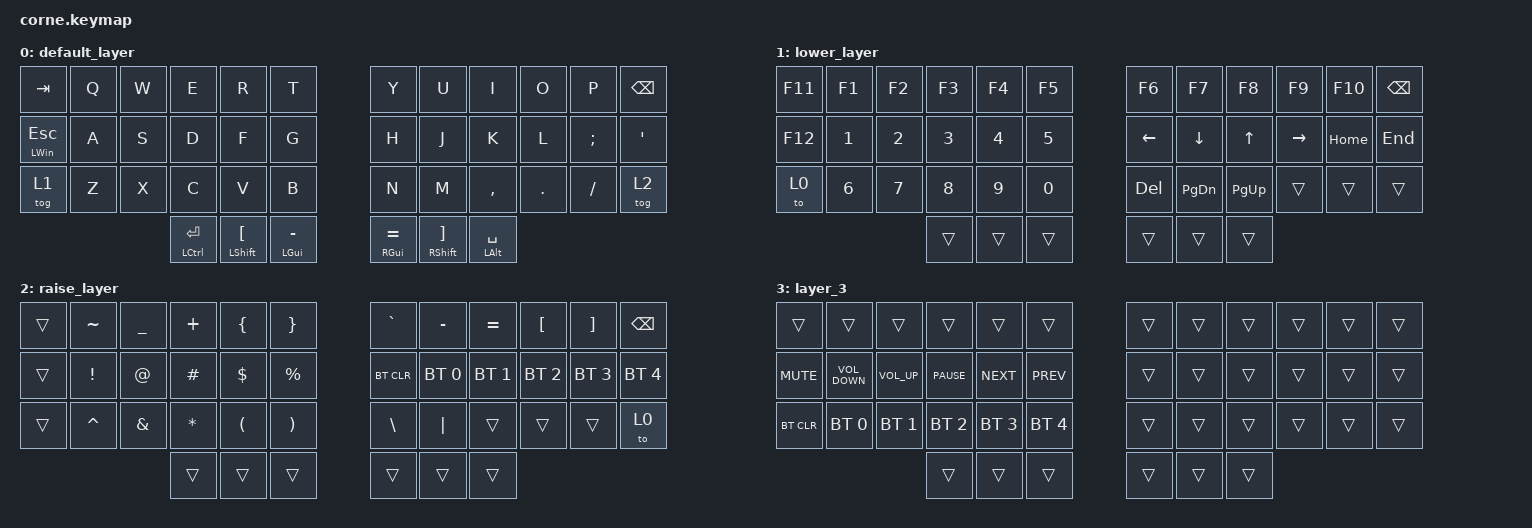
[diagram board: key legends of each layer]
/*
 * Copyright (c) 2020 The ZMK Contributors
 *
 * SPDX-License-Identifier: MIT
 */

#include <behaviors.dtsi>
#include <dt-bindings/zmk/bt.h>
#include <dt-bindings/zmk/keys.h>

/ {
    keymap {
        compatible = "zmk,keymap";

        default_layer {
            // -----------------------------------------------------------------------------------------
            // |  TAB |  Q  |  W  |  E  |  R  |  T  |   |  Y  |  U   |  I  |  O  |  P  | BKSP |
            // | CTRL |  A  |  S  |  D  |  F  |  G  |   |  H  |  J   |  K  |  L  |  ;  |  '   |
            // | SHFT |  Z  |  X  |  C  |  V  |  B  |   |  N  |  M   |  ,  |  .  |  /  | ESC  |
            //                    | GUI | LWR | SPC |   | ENT | RSE  | ALT |

            bindings = <
         &kp TAB  &kp Q  &kp W            &kp E                        &kp R               &kp T                  &kp Y                          &kp U               &kp I    &kp O     &kp P  &kp BSPC
&mt LEFT_WIN ESC  &kp A  &kp S            &kp D                        &kp F               &kp G                  &kp H                          &kp J               &kp K    &kp L  &kp SEMI   &kp SQT
          &tog 1  &kp Z  &kp X            &kp C                        &kp V               &kp B                  &kp N                          &kp M           &kp COMMA  &kp DOT  &kp FSLH    &tog 2
                                &mt LCTRL ENTER  &mt LEFT_SHIFT LEFT_BRACKET  &mt LEFT_GUI MINUS    &mt RIGHT_GUI EQUAL  &mt RIGHT_SHIFT RIGHT_BRACKET  &mt LEFT_ALT SPACE
            >;
        };

        lower_layer {
            // -----------------------------------------------------------------------------------------
            // |  TAB |  1  |  2  |  3  |  4  |  5  |   |  6  |  7  |  8  |  9  |  0  | BKSP |
            // | BTCLR| BT1 | BT2 | BT3 | BT4 | BT5 |   | LFT | DWN |  UP | RGT |     |      |
            // | SHFT |     |     |     |     |     |   |     |     |     |     |     |      |
            //                    | GUI |     | SPC |   | ENT |     | ALT |

            bindings = <
&kp F11        &kp F1        &kp F2        &kp F3        &kp F4        &kp F5        &kp F6         &kp F7     &kp F8     &kp F9   &kp F10  &kp BSPC
&kp F12  &kp NUMBER_1  &kp NUMBER_2  &kp NUMBER_3  &kp NUMBER_4  &kp NUMBER_5      &kp LEFT       &kp DOWN     &kp UP  &kp RIGHT  &kp HOME   &kp END
  &to 0  &kp NUMBER_6  &kp NUMBER_7  &kp NUMBER_8  &kp NUMBER_9  &kp NUMBER_0    &kp DELETE  &kp PAGE_DOWN  &kp PG_UP     &trans    &trans    &trans
                                           &trans        &trans        &trans        &trans         &trans     &trans
            >;
        };

        raise_layer {
            // -----------------------------------------------------------------------------------------
            // |  TAB |  !  |  @  |  #  |  $  |  %  |   |  ^  |  &  |  *  |  (  |  )  | BKSP |
            // | CTRL |     |     |     |     |     |   |  -  |  =  |  [  |  ]  |  \  |  `   |
            // | SHFT |     |     |     |     |     |   |  _  |  +  |  {  |  }  | "|" |  ~   |
            //                    | GUI |     | SPC |   | ENT |     | ALT |

            bindings = <
&trans  &kp TILDE  &kp UNDER  &kp PLUS        &kp LEFT_BRACE        &kp RIGHT_BRACE        &kp GRAVE     &kp MINUS     &kp EQUAL  &kp LEFT_BRACKET  &kp RIGHT_BRACKET      &kp BSPC
&trans   &kp EXCL     &kp AT  &kp HASH            &kp DOLLAR            &kp PERCENT       &bt BT_CLR  &bt BT_SEL 0  &bt BT_SEL 1      &bt BT_SEL 2       &bt BT_SEL 3  &bt BT_SEL 4
&trans  &kp CARET   &kp AMPS  &kp STAR  &kp LEFT_PARENTHESIS  &kp RIGHT_PARENTHESIS    &kp BACKSLASH      &kp PIPE        &trans            &trans             &trans         &to 0
                                &trans                &trans                 &trans           &trans        &trans        &trans
            >;
        };

        layer_3 {
            bindings = <
    &trans             &trans           &trans        &trans        &trans        &trans    &trans  &trans  &trans  &trans  &trans  &trans
&kp C_MUTE  &kp C_VOLUME_DOWN  &kp C_VOLUME_UP   &kp C_PAUSE    &kp C_NEXT    &kp C_PREV    &trans  &trans  &trans  &trans  &trans  &trans
&bt BT_CLR       &bt BT_SEL 0     &bt BT_SEL 1  &bt BT_SEL 2  &bt BT_SEL 3  &bt BT_SEL 4    &trans  &trans  &trans  &trans  &trans  &trans
                                                      &trans        &trans        &trans    &trans  &trans  &trans
            >;
        };
    };
};
